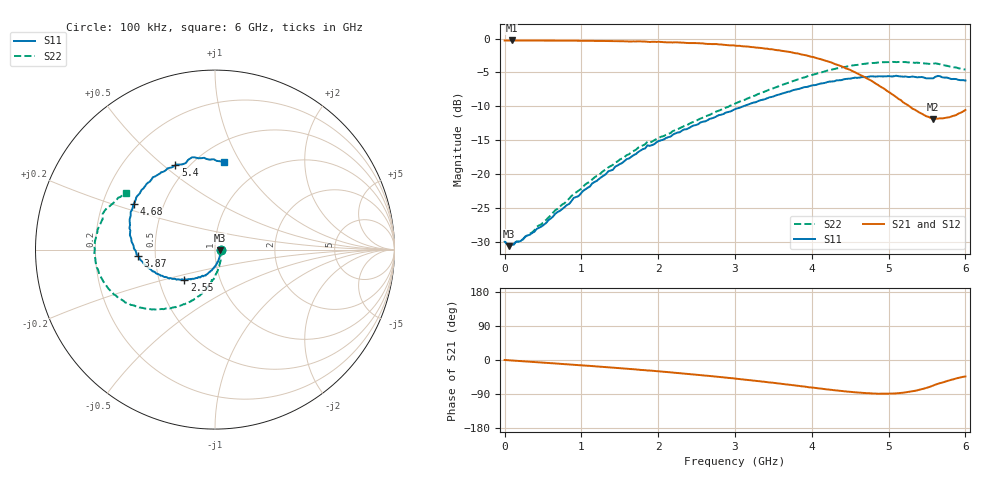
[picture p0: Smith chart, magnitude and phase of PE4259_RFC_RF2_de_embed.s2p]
! Created Fri Oct 06 15:00:47 2006
# hz S ma R 50
! 2 Port Network Data from SP1.SP block
! freq  magS11  angS11  magS21  angS21  magS12  angS12  magS22  angS22
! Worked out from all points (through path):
!   201 points, 100 kHz to 6 GHz, reference 50 ohm
!   highest |S21| = -0.28 dB at 90.1 MHz (marker M1); lowest = -11.9 dB at 5.58 GHz (marker M2)
!   group delay of S21, straight-line fit = 40.4 ps
!   lowest |S11| = -30.7 dB at 60.1 MHz (marker M3), VSWR 1.06, Z = 53 - j0.36 ohm
!   |S11| at or under -10 dB: start of sweep to 3.109 GHz
!   |S22| runs from -30.5 to -3.4 dB; largest |S21 - S12| = 0.0082
!   S11 on the Smith chart (normalised r, x): 100 kHz: 1.07, -0.00; 2.55 GHz: 0.67, -0.24; 3.87 GHz: 0.40, -0.03; 4.68 GHz: 0.34, +0.23; 5.4 GHz: 0.43, +0.55; 6 GHz: 0.66, +0.85
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100000  0.03182 -2.0  0.9681 0.1  0.9685 0.1  0.03185 -1.9
6.0099e7  0.02927 -6.7  0.9682 -0.8  0.9685 -0.8  0.02968 -6.3
9.00985e7  0.02985 -9.2  0.9685 -1.3  0.9678 -1.3  0.03039 -8.4
2.40096e8  0.03304 -24.0  0.9674 -3.3  0.9685 -3.3  0.03287 -22.9
3.60094e8  0.03664 -35.9  0.9666 -5.0  0.9678 -5.0  0.0371 -33.8
1.020083e9  0.07481 -80.0  0.9636 -14.3  0.9635 -14.4  0.08019 -70.1
1.440076e9  0.1134 -97.9  0.9574 -20.7  0.9568 -20.7  0.1216 -83.6
1.860069e9  0.1626 -113.8  0.9472 -27.6  0.9482 -27.4  0.1732 -95.0
2.010066e9  0.1754 -118.0  0.9465 -30.0  0.9418 -30.0  0.1853 -97.0
2.550058e9  0.24 -135.4  0.9213 -39.9  0.9214 -40.0  0.2564 -106.6
3.00005e9  0.3013 -147.7  0.8869 -49.1  0.8877 -49.2  0.3307 -116.3
3.420043e9  0.3621 -160.3  0.8424 -58.5  0.8414 -58.6  0.4135 -127.5
3.870036e9  0.4321 -175.6  0.7619 -69.5  0.7609 -69.2  0.5112 -140.0
4.020033e9  0.4522 179.0  0.7307 -73.0  0.7233 -72.7  0.5419 -144.3
4.320028e9  0.4906 166.1  0.6429 -80.2  0.6421 -79.9  0.601 -153.2
4.680022e9  0.5193 150.8  0.5225 -87.0  0.5239 -86.3  0.6496 -165.2
5.010016e9  0.5281 135.3  0.4009 -88.8  0.4052 -88.5  0.6705 -176.8
5.40001e9  0.5188 115.3  0.2845 -78.5  0.2878 -79.1  0.661 169.5
5.580007e9  0.5087 108.7  0.2551 -67.5  0.258 -67.9  0.651 163.9
5.670006e9  0.5273 102.6  0.2576 -61.0  0.2596 -61.3  0.6459 159.2
5.880002e9  0.5022 90.5  0.2723 -48.6  0.2741 -49.3  0.6118 151.8
6e9  0.4901 84.4  0.2968 -43.4  0.2948 -43.7  0.5897 147.4
